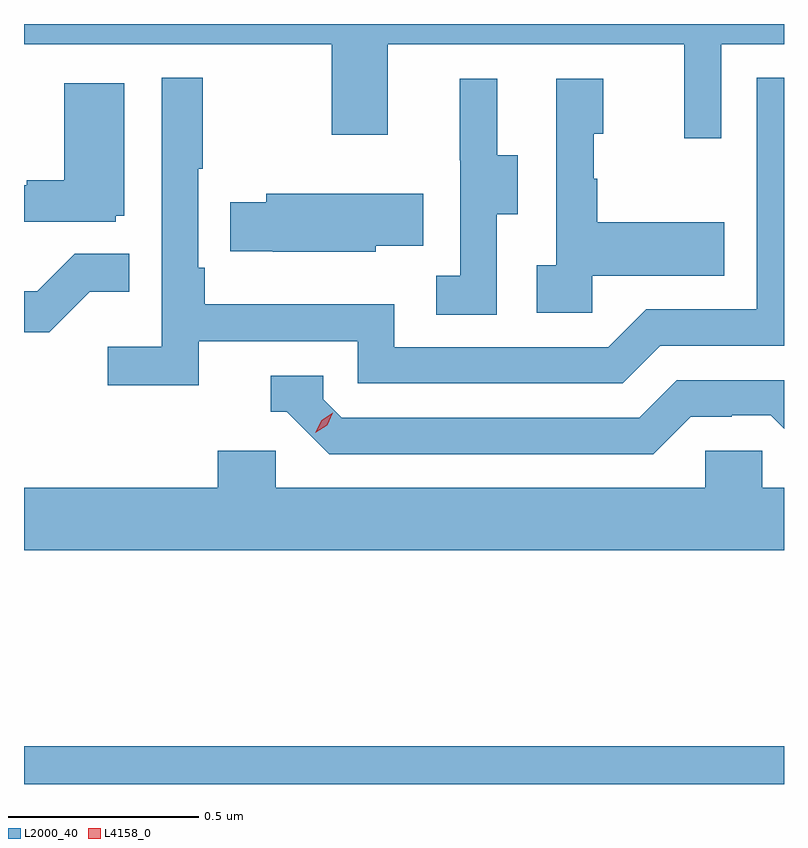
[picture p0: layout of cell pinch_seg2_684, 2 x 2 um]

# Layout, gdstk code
import gdstk
lib = gdstk.Library(unit=1e-6, precision=1e-09)
def R(c, l, rs):  # rectangles x0, y0, x1, y1
    for r in rs: c.add(gdstk.rectangle(r[:2], r[2:], *l))
def P(c, l, *ps):  # polygons
    for p in ps: c.add(gdstk.Polygon(p, *l))
L2000_40 = (2000, 40)
L4158_0 = (4158, 0)

pinch_seg2_684 = lib.new_cell('pinch_seg2_684')
R(pinch_seg2_684, L2000_40, [(1045.468,593.741,1047.468,593.84)])
P(pinch_seg2_684, L2000_40, [(1047.303,595.688),(1047.468,595.688),(1047.468,595.741),(1045.468,595.741),(1045.468,595.688),(1046.278,595.688),(1046.278,595.449),(1046.425,595.449),(1046.425,595.688),(1047.206,595.688),(1047.206,595.44),(1047.303,595.44)],
  [(1045.928,594.906),(1046.346,594.906),(1046.346,594.795),(1047.043,594.795),(1047.142,594.894),(1047.468,594.894),(1047.468,595.599),(1047.396,595.599),(1047.396,594.99),(1047.105,594.99),(1047.006,594.891),(1046.442,594.891),(1046.442,595.003),(1045.943,595.003),(1045.943,595.099),(1045.926,595.099),(1045.926,595.36),(1045.939,595.36),(1045.939,595.6),(1045.83,595.6),(1045.83,594.892),(1045.689,594.892),(1045.689,594.79),(1045.928,594.79)],
  [(1046.964,595.079),(1047.311,595.079),(1047.311,595.219),(1046.977,595.219),(1046.977,595.334),(1046.967,595.334),(1046.967,595.452),(1046.992,595.452),(1046.992,595.597),(1046.868,595.597),(1046.868,595.106),(1046.817,595.106),(1046.817,594.981),(1046.964,594.981)],
  [(1046.712,595.24),(1046.767,595.24),(1046.767,595.395),(1046.713,595.395),(1046.713,595.597),(1046.615,595.597),(1046.615,595.383),(1046.616,595.383),(1046.616,595.079),(1046.553,595.079),(1046.553,594.976),(1046.712,594.976)],
  [(1045.71,595.236),(1045.732,595.236),(1045.732,595.585),(1045.574,595.585),(1045.574,595.33),(1045.475,595.33),(1045.475,595.317),(1045.468,595.317),(1045.468,595.221),(1045.71,595.221)],
  [(1046.394,595.157),(1046.519,595.157),(1046.519,595.294),(1046.105,595.294),(1046.105,595.272),(1046.011,595.272),(1046.011,595.143),(1046.122,595.143),(1046.122,595.142),(1046.394,595.142)],
  [(1045.641,595.037),(1045.745,595.037),(1045.745,595.136),(1045.601,595.136),(1045.503,595.038),(1045.468,595.038),(1045.468,594.93),(1045.534,594.93)],
  [(1047.223,594.708),(1047.33,594.708),(1047.33,594.711),(1047.433,594.711),(1047.468,594.676),(1047.468,594.804),(1047.186,594.804),(1047.087,594.705),(1046.304,594.705),(1046.256,594.753),(1046.256,594.816),(1046.117,594.816),(1046.117,594.72),(1046.16,594.72),(1046.271,594.609),(1047.124,594.609)],
  [(1047.468,594.52),(1047.411,594.52),(1047.411,594.618),(1047.261,594.618),(1047.261,594.52),(1046.13,594.52),(1046.13,594.618),(1045.978,594.618),(1045.978,594.52),(1045.468,594.52),(1045.468,594.356),(1047.468,594.356)])
P(pinch_seg2_684, L4158_0, [(1046.235,594.665),(1046.235,594.665),(1046.251,594.698),(1046.281,594.718),(1046.281,594.718),(1046.281,594.718),(1046.266,594.685),(1046.235,594.665)])

lib.write_gds('pinch_seg2_684.gds')
